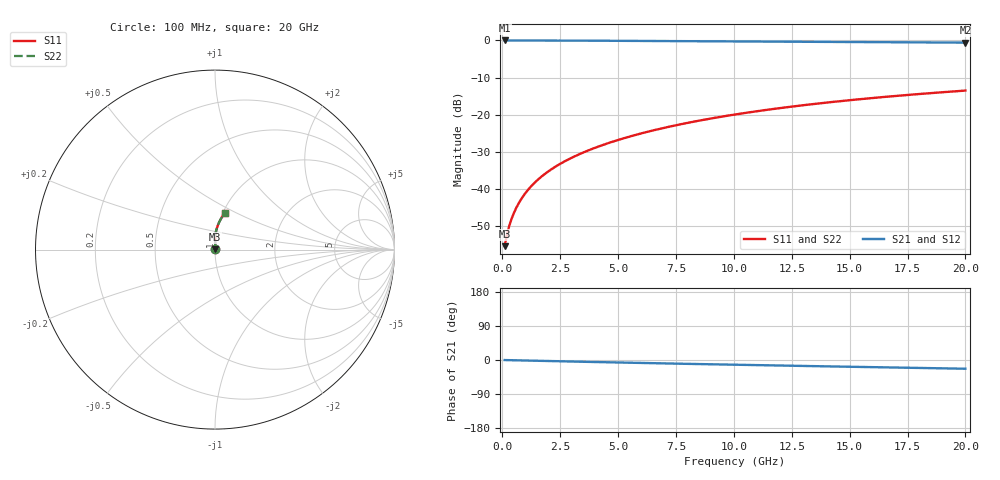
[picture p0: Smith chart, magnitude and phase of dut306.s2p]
! Touchstone file exported from HFSS 2024.1.0
!  File:  C:/UserFiles/LocalFiles/RDL_TSV_Batchsim/temp_RDL_bottom_306_1779610413.aedt
!  Generated:  04:16:21 PM May 24, 2026
!  Design:  RDL_bottom
!  Project:  temp_RDL_bottom_306_1779610413
!  Setup:  Setup1
!  Solution:  Sweep
! Variables:
!  dtsv = 10.80580581um
!  hbump = 3um
!  htsv = 92.89um
!  ldown = 321.63um
!  lrdl = 100um
!  p = 40
!  p1 = 48.03um
!  rhole = 1um
!  t = 450um
!  tdown = 3.82um
!  trdl = 3.915915916um
!  wdown = 25.26um
!  wrdl = 20um
# GHz S MA R 50.000000
! Terminal data exported
! Port[1] = RDL1_T1
! Port[2] = RDL1_T2
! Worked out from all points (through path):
!   200 points, 100 MHz to 20 GHz, reference 50 ohm
!   highest |S21| = -0.01 dB at 100 MHz (marker M1); lowest = -0.6 dB at 20 GHz (marker M2)
!   group delay of S21, straight-line fit = 3.16 ps
!   lowest |S11| = -55.3 dB at 100 MHz (marker M3), VSWR 1.00, Z = 50.1 + j0.0987 ohm
!   |S11| at or under -10 dB: start of sweep to end of sweep
!   |S22| runs from -55.3 to -13.5 dB; largest |S21 - S12| = 3e-15
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0.1  0.001713 35.1  0.9986 -0.1  0.9986 -0.1  0.001713 35.1
! Gamma 0 0 0 0
! Port Impedance 50 0 50 0
0.2  0.002424 52.2  0.9985 -0.3  0.9985 -0.3  0.002424 52.2
0.3  0.003201 60.7  0.9984 -0.4  0.9984 -0.4  0.003201 60.8
0.4  0.003988 66.0  0.9983 -0.6  0.9983 -0.6  0.003988 66.0
0.5  0.00478 69.8  0.9982 -0.7  0.9982 -0.7  0.00478 69.8
0.6  0.005581 72.6  0.9981 -0.8  0.9981 -0.8  0.005581 72.6
0.8  0.007209 76.6  0.9979 -1.1  0.9979 -1.1  0.007209 76.6
1.1  0.009704 80.3  0.9976 -1.5  0.9976 -1.5  0.009704 80.3
1.3  0.0114 82.0  0.9974 -1.8  0.9974 -1.8  0.0114 82.0
1.6  0.01397 83.9  0.9969 -2.2  0.9969 -2.2  0.01397 83.9
2.1  0.01834 86.0  0.996 -2.9  0.996 -2.9  0.01834 86.0
2.7  0.02372 87.6  0.9947 -3.7  0.9947 -3.7  0.02372 87.6
3.5  0.03115 88.9  0.9926 -4.7  0.9926 -4.7  0.03115 88.9
4.2  0.03789 89.5  0.9905 -5.6  0.9905 -5.6  0.03789 89.5
5  0.04586 89.9  0.9878 -6.6  0.9878 -6.6  0.04586 89.9
6.8  0.06473 89.6  0.9812 -8.8  0.9812 -8.8  0.06473 89.6
8.4  0.08232 88.5  0.9752 -10.6  0.9752 -10.6  0.08232 88.5
10.1  0.1015 86.9  0.9688 -12.5  0.9688 -12.5  0.1015 86.9
11.7  0.1197 85.1  0.963 -14.3  0.963 -14.3  0.1197 85.1
13.4  0.1391 83.0  0.9569 -16.1  0.9569 -16.1  0.1391 83.0
16.7  0.176 78.9  0.9454 -19.6  0.9454 -19.6  0.176 78.9
20  0.2116 74.9  0.934 -23.0  0.934 -23.0  0.2116 74.9
